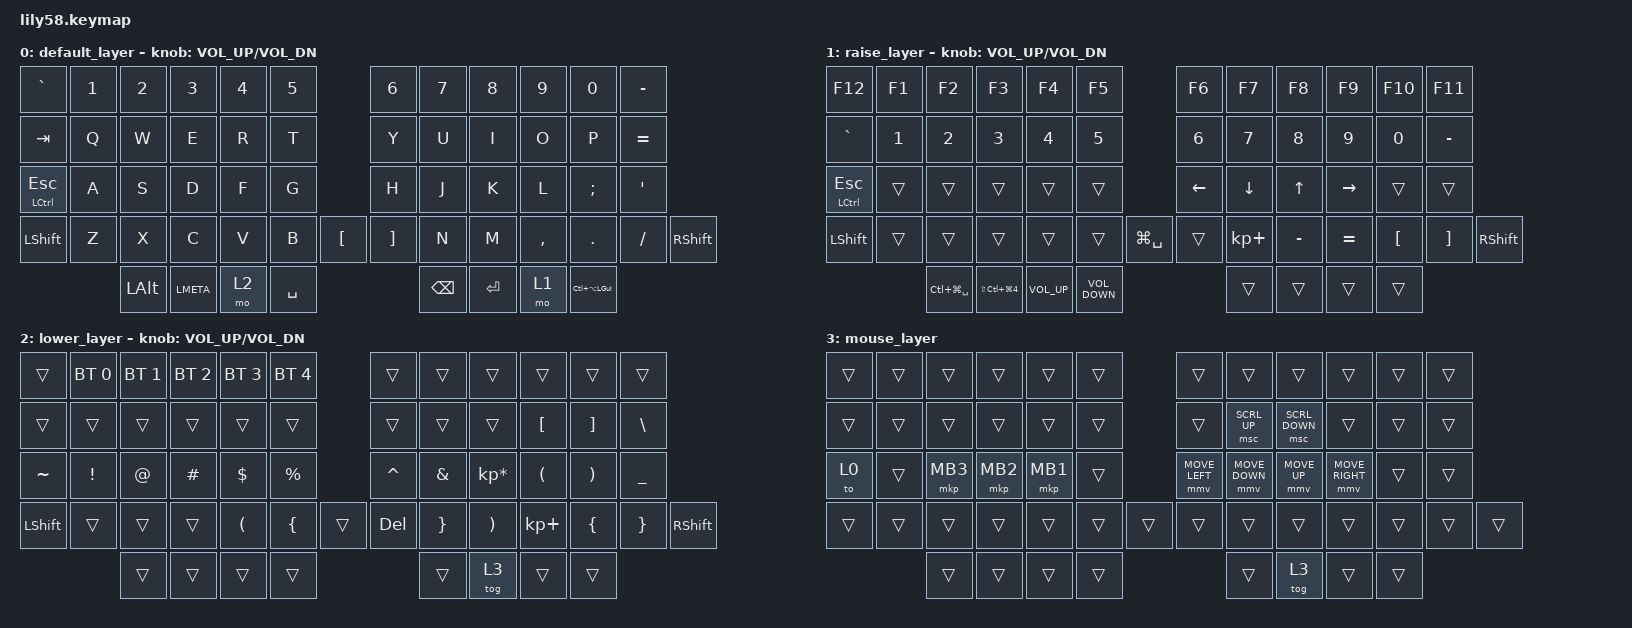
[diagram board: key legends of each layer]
/*
 * Copyright (c) 2020 The ZMK Contributors
 *
 * SPDX-License-Identifier: MIT
 */
// Cursor speed (default 600); must be defined before pointing.h

#define ZMK_POINTING_DEFAULT_MOVE_VAL 1200

#include <behaviors.dtsi>
#include <dt-bindings/zmk/bt.h>
#include <dt-bindings/zmk/keys.h>
#include <dt-bindings/zmk/pointing.h>

// Reach max cursor speed faster when a move key is held

&mmv { time-to-max-speed-ms = <400>; };

/ {
    // Combo keys are a way to combine multiple keypresses to output a different key.

    combos {
        compatible = "zmk,combos";

        combo_clear_bluetooth {
            timeout-ms = <50>; // Press all the below keys within 50ms to activate mapping
            key-positions = <52 42 0>; // Press 52=LOWER, 42=[, 0=tilde
            bindings = <&bt BT_CLR>; // activate clear bluetooth bindings for current channel
        };

        combo_caps_word {
            bindings = <&caps_word>;
            key-positions = <49 36>;
            timeout-ms = <100>;
            layers = <0>;
        };
    };

    keymap {
        compatible = "zmk,keymap";

        default_layer {
            // ------------------------------------------------------------------------------------------------------------
            // |   `      |  1  |  2  |  3   |  4   |  5   |                   |  6   |  7    |  8    |  9   |   0   |   -   |
            // |  TAB     |  Q  |  W  |  E   |  R   |  T   |                   |  Y   |  U    |  I    |  O   |   P   |   =   |
            // |hCTRL tESC|  A  |  S  |  D   |  F   |  G   |                   |  H   |  J    |  K    |  L   |   ;   |   '   |
            // | SHIFT    |  Z  |  X  |  C   |  V   |  B   |   "["  |  |  "]"  |  N   |  M    |  ,    |  .   |   /   | SHIFT |
            //                        | ALT  | GUI  | LOWER|  SPACE |  | BSPC  | ENTER| RAISE | CTRL  |

            bindings = <
&kp GRAVE      &kp N1  &kp N2    &kp N3     &kp N4  &kp N5                       &kp N6             &kp N7    &kp N8   &kp N9     &kp N0                &kp MINUS
&kp TAB        &kp Q   &kp W     &kp E      &kp R   &kp T                        &kp Y              &kp U     &kp I    &kp O      &kp P                 &kp EQUAL
&mt LCTRL ESC  &kp A   &kp S     &kp D      &kp F   &kp G                        &kp H              &kp J     &kp K    &kp L      &kp SEMI              &kp SQT
&kp LSHFT      &kp Z   &kp X     &kp C      &kp V   &kp B      &kp LEFT_BRACKET  &kp RIGHT_BRACKET  &kp N     &kp M    &kp COMMA  &kp DOT               &kp FSLH   &kp RSHFT
                       &kp LALT  &kp LMETA  &mo 2   &kp SPACE                                       &kp BSPC  &kp RET  &mo 1      &kp LC(LA(LEFT_GUI))
            >;

            sensor-bindings = <&inc_dec_kp C_VOL_UP C_VOL_DN>;
        };

        raise_layer {
            // ------------------------------------------------------------------------------------------------------------
            // |  F12    |  F1 |  F2 |  F3  |  F4  |  F5  |                   |  F6  |   F7  |   F8  |  F9  |  F10  |  F11  |
            // |   `     |  1  |  2  |  3   |  4   |  5   |                   |  6   |   7   |   8   |  9   |   0   |   -   |
            // |CTRL/ESC |     |     |      |      |      |                   |  <-  |   ^   |   v   |  ->  |       |       |
            // | SHIFT   |     |     |      |      |      |        |  |       |  +   |   -   |   =   |  [   |   ]   |   \   |
            //                       |      |      |      |        |  |       |      |       |       |

            bindings = <
&kp F12        &kp F1  &kp F2             &kp F3                    &kp F4           &kp F5                            &kp F6    &kp F7       &kp F8     &kp F9     &kp F10   &kp F11
&kp GRAVE      &kp N1  &kp N2             &kp N3                    &kp N4           &kp N5                            &kp N6    &kp N7       &kp N8     &kp N9     &kp N0    &kp MINUS
&mt LCTRL ESC  &trans  &trans             &trans                    &trans           &trans                            &kp LEFT  &kp DOWN     &kp UP     &kp RIGHT  &trans    &trans
&kp LSHIFT     &trans  &trans             &trans                    &trans           &trans             &kp LG(SPACE)  &trans    &kp KP_PLUS  &kp MINUS  &kp EQUAL  &kp LBKT  &kp RBKT   &kp RIGHT_SHIFT
                       &kp LC(LG(SPACE))  &kp LS(LC(LG(NUMBER_4)))  &kp C_VOLUME_UP  &kp C_VOLUME_DOWN                           &trans       &trans     &trans     &trans
            >;

            sensor-bindings = <&inc_dec_kp C_VOL_UP C_VOL_DN>;
        };

        lower_layer {
            // ------------------------------------------------------------------------------------------------------------
            // |          | BT1     | BT2    |  BT3 |  BT4  |  BT5 |                    |      |       |       |      |       |       |
            // |          |         |        |      |       |      |                    |      |       |       |  [   |   ]   |   \   |
            // |   ~      |  !      |  @     |  #   |  $    |  %   |                    |  ^   |  &    |  *    |  (   |   )   |   _   |
            // | SHIFT    |  EP_ON  | EP_OFF |      |  (    |  {   |       |  |   DEL   |  }   |  )    |  +    |  {   |   }   | SHIFT |
            //                               |      |       |      |       |  |         |      |       |       |

            bindings = <
&trans      &bt BT_SEL 0  &bt BT_SEL 1  &bt BT_SEL 2  &bt BT_SEL 3  &bt BT_SEL 4          &trans     &trans    &trans           &trans       &trans    &trans
&trans      &trans        &trans        &trans        &trans        &trans                &trans     &trans    &trans           &kp LBKT     &kp RBKT  &kp BSLH
&kp TILDE   &kp EXCL      &kp AT        &kp HASH      &kp DOLLAR    &kp PRCNT             &kp CARET  &kp AMPS  &kp KP_MULTIPLY  &kp LPAR     &kp RPAR  &kp UNDER
&kp LSHIFT  &trans        &trans        &trans        &kp LPAR      &kp LBRC      &trans  &kp DEL    &kp RBRC  &kp RPAR         &kp KP_PLUS  &kp LBRC  &kp RBRC   &kp RSHIFT
                          &trans        &trans        &trans        &trans                           &trans    &tog 3           &trans       &trans
            >;

            sensor-bindings = <&inc_dec_kp C_VOL_UP C_VOL_DN>;
        };

        mouse_layer {
            bindings = <
&trans  &trans  &trans    &trans    &trans    &trans          &trans          &trans          &trans          &trans           &trans  &trans
&trans  &trans  &trans    &trans    &trans    &trans          &trans          &msc SCRL_UP    &msc SCRL_DOWN  &trans           &trans  &trans
&to 0   &trans  &mkp MB3  &mkp MB2  &mkp MB1  &trans          &mmv MOVE_LEFT  &mmv MOVE_DOWN  &mmv MOVE_UP    &mmv MOVE_RIGHT  &trans  &trans
&trans  &trans  &trans    &trans    &trans    &trans  &trans  &trans          &trans          &trans          &trans           &trans  &trans  &trans
                &trans    &trans    &trans    &trans                          &trans          &tog 3          &trans           &trans
            >;
        };
    };
};
